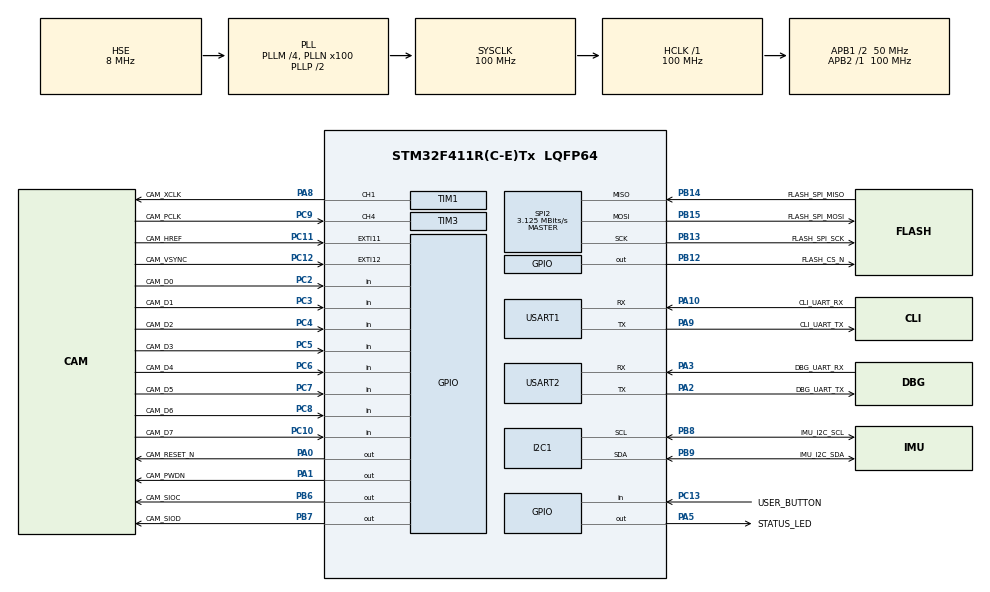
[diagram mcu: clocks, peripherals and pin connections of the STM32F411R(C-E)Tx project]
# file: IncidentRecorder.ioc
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Dma.Request0=TIM3_CH4/UP
Dma.Request1=TIM1_CH4/TRIG/COM
Dma.TIM1_CH4/TRIG/COM.1.Direction=DMA_PERIPH_TO_MEMORY
Dma.TIM1_CH4/TRIG/COM.1.FIFOMode=DMA_FIFOMODE_DISABLE
Dma.TIM1_CH4/TRIG/COM.1.Instance=DMA2_Stream4
Dma.TIM1_CH4/TRIG/COM.1.MemDataAlignment=DMA_MDATAALIGN_WORD
Dma.TIM1_CH4/TRIG/COM.1.MemInc=DMA_MINC_ENABLE
Dma.TIM1_CH4/TRIG/COM.1.Mode=DMA_NORMAL
Dma.TIM1_CH4/TRIG/COM.1.PeriphDataAlignment=DMA_PDATAALIGN_WORD
Dma.TIM1_CH4/TRIG/COM.1.PeriphInc=DMA_PINC_DISABLE
Dma.TIM1_CH4/TRIG/COM.1.Priority=DMA_PRIORITY_VERY_HIGH
Dma.TIM3_CH4/UP.0.Direction=DMA_PERIPH_TO_MEMORY
Dma.TIM3_CH4/UP.0.FIFOMode=DMA_FIFOMODE_DISABLE
Dma.TIM3_CH4/UP.0.Instance=DMA1_Stream2
Dma.TIM3_CH4/UP.0.MemDataAlignment=DMA_MDATAALIGN_WORD
Dma.TIM3_CH4/UP.0.MemInc=DMA_MINC_ENABLE
Dma.TIM3_CH4/UP.0.Mode=DMA_NORMAL
Dma.TIM3_CH4/UP.0.PeriphDataAlignment=DMA_PDATAALIGN_WORD
Dma.TIM3_CH4/UP.0.PeriphInc=DMA_PINC_DISABLE
Dma.TIM3_CH4/UP.0.Priority=DMA_PRIORITY_VERY_HIGH
Mcu.Family=STM32F4
Mcu.Name=STM32F411R(C-E)Tx
Mcu.Package=LQFP64
NVIC.DMA1_Stream2_IRQn=true\:5\:0\:true\:false\:true\:false\:true\:true
NVIC.DMA2_Stream4_IRQn=true\:5\:0\:true\:false\:true\:false\:true\:true
NVIC.EXTI15_10_IRQn=true\:6\:0\:true\:false\:true\:true\:true\:true
NVIC.PriorityGroup=NVIC_PRIORITYGROUP_4
NVIC.USART1_IRQn=true\:7\:0\:true\:false\:true\:true\:true\:true
NVIC.USART2_IRQn=true\:7\:0\:true\:false\:true\:true\:true\:true
PA0-WKUP.GPIO_Label=CAM_RESET_N
PA0-WKUP.Signal=GPIO_Output
PA1.GPIO_Label=CAM_PWDN
PA1.PinState=GPIO_PIN_SET
PA1.Signal=GPIO_Output
PA10.GPIO_Label=CLI_UART_RX
PA10.Mode=Asynchronous
PA10.Signal=USART1_RX
PA13.Mode=Serial_Wire
PA13.Signal=SYS_JTMS-SWDIO
PA14.Mode=Serial_Wire
PA14.Signal=SYS_JTCK-SWCLK
PA2.GPIO_Label=DBG_UART_TX
PA2.Mode=Asynchronous
PA2.Signal=USART2_TX
PA3.GPIO_Label=DBG_UART_RX
PA3.Mode=Asynchronous
PA3.Signal=USART2_RX
PA5.GPIO_Label=STATUS_LED
PA5.Signal=GPIO_Output
PA8.GPIO_Label=CAM_XCLK
PA8.GPIO_Speed=GPIO_SPEED_FREQ_HIGH
PA8.Signal=S_TIM1_CH1
PA9.GPIO_Label=CLI_UART_TX
PA9.Mode=Asynchronous
PA9.Signal=USART1_TX
PB12.GPIO_Label=FLASH_CS_N
PB12.PinState=GPIO_PIN_SET
PB12.Signal=GPIO_Output
PB13.GPIO_Label=FLASH_SPI_SCK
PB13.Mode=Full_Duplex_Master
PB13.Signal=SPI2_SCK
PB14.GPIO_Label=FLASH_SPI_MISO
PB14.Mode=Full_Duplex_Master
PB14.Signal=SPI2_MISO
PB15.GPIO_Label=FLASH_SPI_MOSI
PB15.Mode=Full_Duplex_Master
PB15.Signal=SPI2_MOSI
PB6.GPIO_Label=CAM_SIOC
PB6.GPIO_ModeDefaultOutputPP=GPIO_MODE_OUTPUT_OD
PB6.GPIO_PuPd=GPIO_PULLUP
PB6.GPIO_Speed=GPIO_SPEED_FREQ_MEDIUM
PB6.PinState=GPIO_PIN_SET
PB6.Signal=GPIO_Output
PB7.GPIO_Label=CAM_SIOD
PB7.GPIO_ModeDefaultOutputPP=GPIO_MODE_OUTPUT_OD
PB7.GPIO_PuPd=GPIO_PULLUP
PB7.GPIO_Speed=GPIO_SPEED_FREQ_MEDIUM
PB7.PinState=GPIO_PIN_SET
PB7.Signal=GPIO_Output
PB8.GPIO_Label=IMU_I2C_SCL
PB8.Mode=I2C
PB8.Signal=I2C1_SCL
PB9.GPIO_Label=IMU_I2C_SDA
PB9.Mode=I2C
PB9.Signal=I2C1_SDA
PC10.GPIO_Label=CAM_D7
PC10.Signal=GPIO_Input
PC11.GPIO_Label=CAM_HREF
PC11.GPIO_ModeDefaultEXTI=GPIO_MODE_IT_RISING_FALLING
PC11.Signal=GPXTI11
PC12.GPIO_Label=CAM_VSYNC
PC12.GPIO_ModeDefaultEXTI=GPIO_MODE_IT_RISING_FALLING
PC12.Signal=GPXTI12
PC13-ANTI_TAMP.GPIO_Label=USER_BUTTON
PC13-ANTI_TAMP.Signal=GPIO_Input
PC2.GPIO_Label=CAM_D0
PC2.Signal=GPIO_Input
PC3.GPIO_Label=CAM_D1
PC3.Signal=GPIO_Input
PC4.GPIO_Label=CAM_D2
PC4.Signal=GPIO_Input
PC5.GPIO_Label=CAM_D3
PC5.Signal=GPIO_Input
PC6.GPIO_Label=CAM_D4
PC6.Signal=GPIO_Input
PC7.GPIO_Label=CAM_D5
PC7.Signal=GPIO_Input
PC8.GPIO_Label=CAM_D6
PC8.Signal=GPIO_Input
PC9.GPIO_Label=CAM_PCLK
PC9.Signal=S_TIM3_CH4
PH0\ -\ OSC_IN.Mode=HSE-External-Clock-Source
PH0\ -\ OSC_IN.Signal=RCC_OSC_IN
PH1\ -\ OSC_OUT.Mode=HSE-External-Clock-Source
PH1\ -\ OSC_OUT.Signal=RCC_OSC_OUT
ProjectManager.HeapSize=0x200
ProjectManager.StackSize=0x400
ProjectManager.TargetToolchain=STM32CubeIDE
RCC.48MHZClocksFreq_Value=50000000
RCC.AHBFreq_Value=100000000
RCC.APB1CLKDivider=RCC_HCLK_DIV2
RCC.APB1Freq_Value=50000000
RCC.APB1TimFreq_Value=100000000
RCC.APB2Freq_Value=100000000
RCC.APB2TimFreq_Value=100000000
RCC.CortexFreq_Value=100000000
RCC.HCLKFreq_Value=100000000
RCC.HSE_VALUE=8000000
RCC.HSI_VALUE=16000000
RCC.LSE_VALUE=32768
RCC.PLLM=4
RCC.PLLN=100
RCC.PLLSourceVirtual=RCC_PLLSOURCE_HSE
RCC.SYSCLKFreq_VALUE=100000000
RCC.SYSCLKSource=RCC_SYSCLKSOURCE_PLLCLK
RCC.VCOOutputFreq_Value=200000000
SH.S_TIM1_CH1.0=TIM1_CH1,PWM Generation1 CH1
SH.S_TIM3_CH4.0=TIM3_CH4,Input_Capture4_from_TI4
SPI2.BaudRatePrescaler=SPI_BAUDRATEPRESCALER_16
SPI2.CalculateBaudRate=3.125 MBits/s
SPI2.Direction=SPI_DIRECTION_2LINES
SPI2.Mode=SPI_MODE_MASTER
SPI2.VirtualType=VM_MASTER
TIM1.Channel-PWM\ Generation1\ CH1=TIM_CHANNEL_1
TIM1.OC1Preload_PWM=DISABLE
TIM1.Period=7
TIM1.Pulse-PWM\ Generation1\ CH1=4
TIM2.Prescaler=99
TIM3.Channel-Input_Capture4_from_TI4=TIM_CHANNEL_4
TIM3.Prescaler=99
USART1.VirtualMode=VM_ASYNC
USART2.VirtualMode=VM_ASYNC
VP_TIM1_VS_ClockSourceINT.Mode=Internal
VP_TIM2_VS_ClockSourceINT.Mode=Internal
VP_TIM3_VS_ClockSourceINT.Mode=Internal
board=custom

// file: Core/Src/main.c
/* USER CODE BEGIN Header */
/**
 ******************************************************************************
 * @file           : main.c
 * @brief          : Main program body
 ******************************************************************************
 * @attention
 *
 * Copyright (c) 2026 STMicroelectronics.
 * All rights reserved.
 *
 * This software is licensed under terms that can be found in the LICENSE file
 * in the root directory of this software component.
 * If no LICENSE file comes with this software, it is provided AS-IS.
 *
 ******************************************************************************
 */
/* USER CODE END Header */
#include "main.h"
#include "dma.h"
#include "i2c.h"
#include "spi.h"
#include "tim.h"
#include "usart.h"
#include "gpio.h"

/* USER CODE BEGIN Includes */
#include "app/app.h"
#include "app/rtos_tasks.h"
#include "metrics/metrics.h"
#include "metrics/memory_metrics.h"
#include "metrics/metrics_config.h"
#if (METRICS_ENABLE_STARTUP_SELF_TEST != 0U)
#include "metrics/metrics_test.h"
volatile uint32_t g_metrics_test_result;
#endif
/* USER CODE END Includes */

void SystemClock_Config(void);

/* USER CODE BEGIN 0 */
#define APP_MAIN_TASK_STACK_SIZE    1024U
#define APP_MAIN_TASK_PRIORITY      (tskIDLE_PRIORITY + 1U)

#define LED_TASK_STACK_SIZE         256U
#define LED_TASK_PRIORITY           (tskIDLE_PRIORITY + 2U)
#define LED_TASK_PERIOD_MS          10U
/* USER CODE END 0 */

int main(void) {
	/* Paint the reserved MSP stack before HAL/application initialization. */
	MemoryMetrics_StackPaint();

	/* MCU Configuration--------------------------------------------------------*/

	/* Reset of all peripherals, Initializes the Flash interface and the Systick. */
	HAL_Init();

	/* Configure the system clock */
	SystemClock_Config();

	/* Initialize all configured peripherals */
	MX_GPIO_Init();
	/* Reserved measurement outputs: PA4, PB0, PB1 and PB10. */
	(void) Metrics_ProbeInit();
	MX_DMA_Init();
	MX_I2C1_Init();
	MX_SPI2_Init();
	MX_TIM1_Init();
	MX_TIM2_Init();
	MX_TIM3_Init();
	MX_USART1_UART_Init();
	MX_USART2_UART_Init();
	/* USER CODE BEGIN 2 */
	/* Start application services after all hardware peripherals are initialized. */
	App_Init();
	/* Initialize metrics only after App_Init(): camera initialization may
	 * reset DWT->CYCCNT for its own microsecond delays. */
	if (!Metrics_Init()) {
		Error_Handler();
	}
#if (METRICS_ENABLE_STARTUP_SELF_TEST != 0U)
	g_metrics_test_result = MetricsTest_Run();
#endif
	/* USER CODE END 2 */

	/* USER CODE BEGIN WHILE */
	if (!RtosTasks_Start()) {
		Error_Handler();
	}
	/* USER CODE END WHILE */

}

void SystemClock_Config(void) {
	RCC_OscInitTypeDef RCC_OscInitStruct = { 0 };
	RCC_ClkInitTypeDef RCC_ClkInitStruct = { 0 };

	/** Configure the main internal regulator output voltage
	 */
	__HAL_RCC_PWR_CLK_ENABLE();
	__HAL_PWR_VOLTAGESCALING_CONFIG(PWR_REGULATOR_VOLTAGE_SCALE1);

	/* The 8 MHz external clock and PLL settings below produce a 100 MHz SYSCLK. */

	/** Initializes the RCC Oscillators according to the specified parameters
	 * in the RCC_OscInitTypeDef structure.
	 */
	RCC_OscInitStruct.OscillatorType = RCC_OSCILLATORTYPE_HSE;
	RCC_OscInitStruct.HSEState = RCC_HSE_BYPASS;
	RCC_OscInitStruct.PLL.PLLState = RCC_PLL_ON;
	RCC_OscInitStruct.PLL.PLLSource = RCC_PLLSOURCE_HSE;
	RCC_OscInitStruct.PLL.PLLM = 4;
	RCC_OscInitStruct.PLL.PLLN = 100;
	RCC_OscInitStruct.PLL.PLLP = RCC_PLLP_DIV2;
	RCC_OscInitStruct.PLL.PLLQ = 4;
	if (HAL_RCC_OscConfig(&RCC_OscInitStruct) != HAL_OK) {
		Error_Handler();
	}

	/** Initializes the CPU, AHB and APB buses clocks
	 */
	RCC_ClkInitStruct.ClockType = RCC_CLOCKTYPE_HCLK | RCC_CLOCKTYPE_SYSCLK
			| RCC_CLOCKTYPE_PCLK1 | RCC_CLOCKTYPE_PCLK2;
	RCC_ClkInitStruct.SYSCLKSource = RCC_SYSCLKSOURCE_PLLCLK;
	RCC_ClkInitStruct.AHBCLKDivider = RCC_SYSCLK_DIV1;
	RCC_ClkInitStruct.APB1CLKDivider = RCC_HCLK_DIV2;
	RCC_ClkInitStruct.APB2CLKDivider = RCC_HCLK_DIV1;

	if (HAL_RCC_ClockConfig(&RCC_ClkInitStruct, FLASH_LATENCY_3) != HAL_OK) {
		Error_Handler();
	}
}

void Error_Handler(void) {
	/* USER CODE BEGIN Error_Handler_Debug */
	/* Stop execution if a required HAL peripheral initialization fails. */
	__disable_irq();
	while (1) {
	}
	/* USER CODE END Error_Handler_Debug */
}
#ifdef USE_FULL_ASSERT
/**
  * @brief  Reports the name of the source file and the source line number
  *         where the assert_param error has occurred.
  * @param  file: pointer to the source file name
  * @param  line: assert_param error line source number
  * @retval None
  */
void assert_failed(uint8_t *file, uint32_t line) {
	/* USER CODE BEGIN 6 */
	/* Inspect file and line in the debugger when an assertion fails. */
	(void) file;
	(void) line;
	/* USER CODE END 6 */
}
#endif /* USE_FULL_ASSERT */
